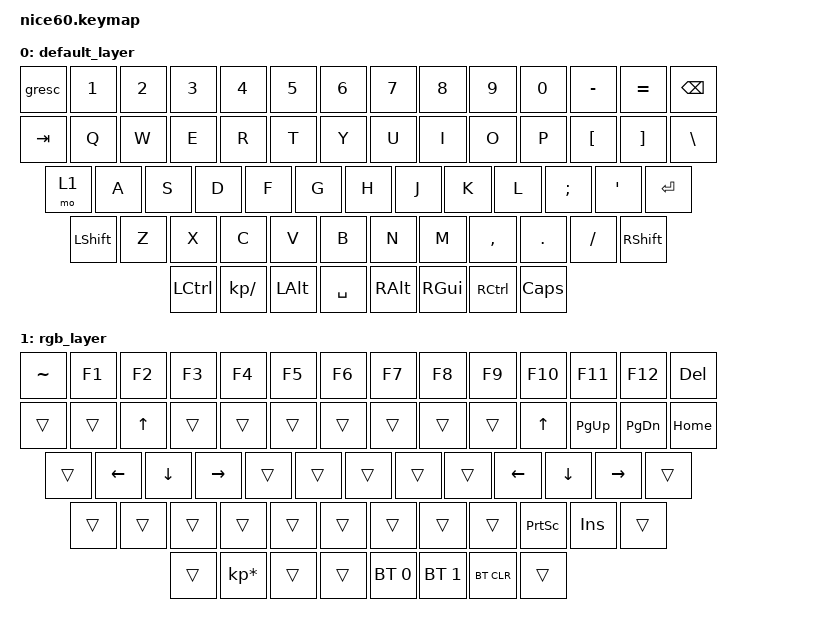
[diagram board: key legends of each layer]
/*
 * Copyright (c) 2021 Nick Winans
 *
 * SPDX-License-Identifier: MIT
 */

#include <behaviors.dtsi>
#include <dt-bindings/zmk/keys.h>
#include <dt-bindings/zmk/rgb.h>
#include <dt-bindings/zmk/bt.h>
#include <dt-bindings/zmk/outputs.h>
#include <dt-bindings/zmk/reset.h>
#include <dt-bindings/zmk/ext_power.h>

/ {
	keymap {
		compatible = "zmk,keymap";
		
		default_layer {
// ------------------------------------------------------------------------------------------
// | ESC |  1  |  2  |  3  |  4  |  5  |  6  |  7  |  8  |  9  |  0  |  -  |  =  |   BKSP   |
// | TAB  |  Q  |  W  |  E  |  R  |  T  |  Y  |  U  |  I  |  O  |  P  |  [  |  ]  |   "|"   |
// | MO(1) |  A  |  S  |  D  |  F  |  G  |  H  |  J  |  K  |  L  |  ;  |  '  |     ENTER    |
// |  SHIFT  |  Z  |  X  |  C  |  V  |  B  |  N  |  M  |  ,  |  .  |  /  |      SHIFT       |
// |  CTL  |   /   |  ALT  |            SPACE              |  ALT  |   WIN   |  CTL | CAPS  |
// ------------------------------------------------------------------------------------------
			bindings = <
	&gresc  &kp N1 &kp N2 &kp N3 &kp N4 &kp N5 &kp N6 &kp N7 &kp N8 &kp N9 &kp N0 &kp MINUS &kp EQUAL  &kp BSPC
	&kp TAB  &kp Q  &kp W  &kp E  &kp R  &kp T  &kp Y  &kp U  &kp I  &kp O  &kp P  &kp LBKT  &kp RBKT  &kp BSLH
	&mo 1     &kp A  &kp S  &kp D  &kp F  &kp G  &kp H  &kp J  &kp K  &kp L  &kp SEMI &kp SQT           &kp RET
	&kp LSHFT   &kp Z  &kp X  &kp C  &kp V  &kp B  &kp N  &kp M  &kp COMMA &kp DOT &kp FSLH           &kp RSHFT
	&kp LCTRL &kp KP_SLASH &kp LALT           &kp SPACE                   &kp RALT  &kp RGUI &kp RCTRL &kp CLCK
			>;
		};

		rgb_layer {
// ------------------------------------------------------------------------------------------------
// |  TILDE | F1  | F2  | F3  | F4  | F5  | F6  | F7  | F8  | F9  | F10  | F11 | F12 |     DEL    |
// |         |   |  UP |   |       |       |       |       |   |     | UP |PG_UP|PG_DN|   HOME    |
// |          | LT |  DN  | RT |       |       |       |       |   | LT  |  DN  | RT   |          |
// |             |     |      |      |     |     |     |     |     |PSCRN|INS|                    |
// |         |   *  |      |                                    |  BT 1   | BT 2  | BT CLR |      |
// ------------------------------------------------------------------------------------------------
			bindings = <
	&kp TILDE   &kp F1    &kp F2    &kp F3  &kp F4           &kp F5          &kp F6          &kp F7          &kp F8   &kp F9   &kp F10  &kp F11 &kp F12  &kp DEL
	&trans  &trans    &kp UP    &trans  &trans  &trans &trans &trans  &trans   &trans   &kp UP   &kp PG_UP  &kp PG_DN         &kp HOME
	&trans   &kp LEFT  &kp DOWN  &kp RIGHT &trans &trans &trans &trans &trans   &kp LEFT        &kp DOWN            &kp RIGHT        &trans
	&trans    &trans    &trans    &trans   &trans          &trans          &trans          &trans          &trans   &kp PSCRN   &kp INS                    &trans
	&trans  &kp KP_ASTERISK   &trans                            &trans                                      &bt BT_SEL 0   &bt BT_SEL 1 &bt BT_CLR         &trans
			>;
		};
	};
};
